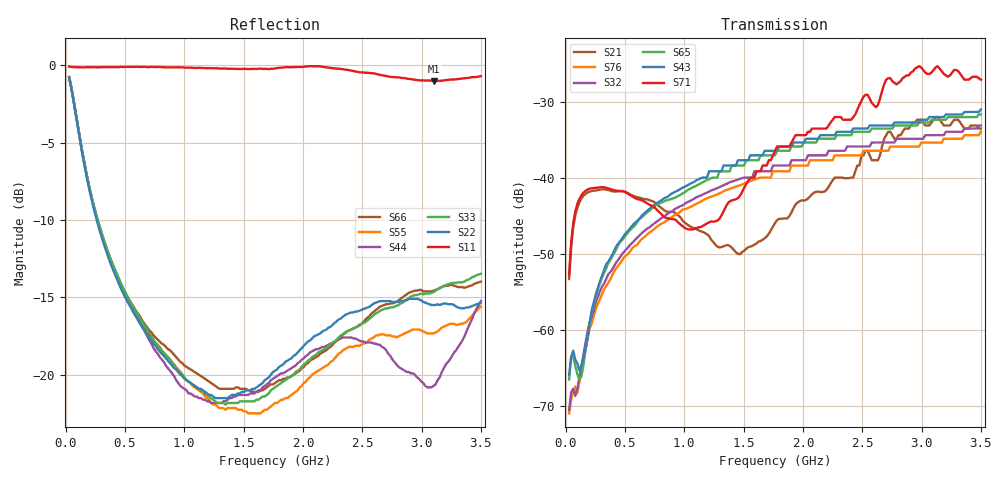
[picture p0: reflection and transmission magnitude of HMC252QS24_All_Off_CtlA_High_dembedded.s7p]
!Hittite Microwave Corporation
!12 Elizabeth Drive
!Chelmsford, MA 01824
!Tel: 978-250-3343
!Fax: 978-250-3373
!Device: HMC252QS24, DC-3 GHz GaAS MMIC SP6T Non-Reflective Switch in 24-lead QSOP package
!Misc: Port 1 = RFCom, Port 2 = RF1, Port 3 = RF2, Port 4 = RF3, Port 5 = RF4, Port 6 = RF5, Port 7 = RF6, All Off CtlA High, Vdd=+5V
# MHZ S MA R 50
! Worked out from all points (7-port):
!   201 points, 30 MHz to 3.5 GHz, reference 50 ohm
!   strongest paths, dB at 30 MHz, 897.5 MHz, 1.765 GHz, 2.632 GHz, 3.5 GHz:
!     S71: -52.8, -45.5, -36.5, -30.5, -27.1
!     S43: -66.0, -42.1, -36.5, -33.2, -31.1
!     S65: -66.6, -42.8, -37.1, -33.6, -31.7
!     S32: -70.6, -44.5, -38.4, -35.4, -33.2
!     S76: -71.0, -45.2, -39.2, -36.5, -34.0
!     S21: -53.3, -44.5, -46.0, -37.7, -33.6
!   lowest |S11| = -1.0 dB at 3.101 GHz (marker M1), VSWR 17.35, Z = 5.65 + j48.9 ohm
!   |S11| at or under -10 dB: nowhere
